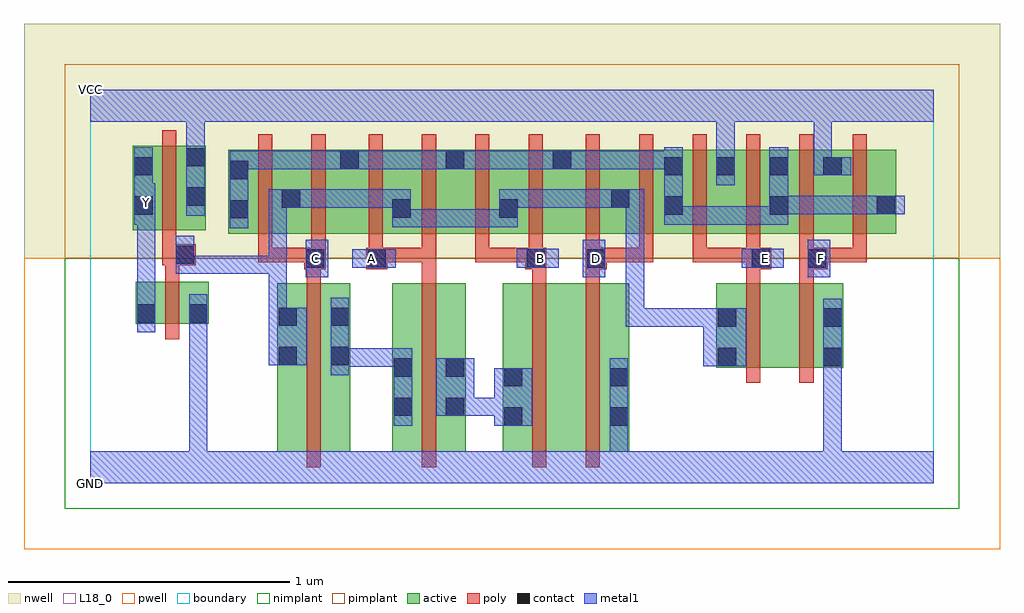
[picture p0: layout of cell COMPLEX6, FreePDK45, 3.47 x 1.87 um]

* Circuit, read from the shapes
.subckt COMPLEX6 A B C D E F GND VCC Y
M1 GND n1 Y VSUBS nfet w=0.15u l=0.05u
M2 n2 C n1 VSUBS nfet w=0.6u l=0.05u
M3 n3 A n2 VSUBS nfet w=0.6u l=0.05u
M4 n4 B n3 VSUBS nfet w=0.6u l=0.05u
M5 GND D n4 VSUBS nfet w=0.6u l=0.05u
M6 n5 E n1 VSUBS nfet w=0.3u l=0.05u
M7 GND F n5 VSUBS nfet w=0.3u l=0.05u
M8 VCC n1 Y n6 pfet w=0.3u l=0.05u
M9 n1 C n7 n6 pfet w=0.3u l=0.05u m=2
M10 n1 A n7 n6 pfet w=0.3u l=0.05u m=2
M11 n1 B n7 n6 pfet w=0.3u l=0.05u m=2
M12 n1 D n7 n6 pfet w=0.3u l=0.05u m=2
M13 VCC E n7 n6 pfet w=0.3u l=0.05u m=2
M14 VCC F n7 n6 pfet w=0.3u l=0.05u m=2
.ends

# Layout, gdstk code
import gdstk
lib = gdstk.Library(unit=1e-6, precision=1e-09)
def R(c, l, rs):  # rectangles x0, y0, x1, y1
    for r in rs: c.add(gdstk.rectangle(r[:2], r[2:], *l))
def A(c, l, x, y, w, h, nx, ny, dx, dy):  # array of equal rectangles
    R(c, l, [(x+i*dx, y+j*dy, x+i*dx+w, y+j*dy+h) for i in range(nx) for j in range(ny)])
active = (1, 0)
pwell = (2, 0)
nwell = (3, 0)
nimplant = (4, 0)
pimplant = (5, 0)
poly = (9, 0)
contact = (10, 0)
metal1 = (11, 0)
L18_0 = (18, 0)
boundary = (235, 0)

complex6 = lib.new_cell('COMPLEX6')
A(complex6, active, 1.07, 0.887, 0.265, 0.3, 3, 1, 0.19, 0)
A(complex6, active, 2.222, 0.887, 0.075, 0.3, 4, 1, 0.19, 0)
A(complex6, active, 2.222, 0.887, 0.265, 0.3, 3, 1, 0.19, 0)
R(complex6, active, [(0.665,0.112,0.925,0.712), (1.075,0.112,1.335,0.712), (1.467,0.112,1.692,0.712), (1.692,0.112,1.917,0.712), (0.665,0.145,0.74,0.712), (0.85,0.145,0.925,0.712), (1.075,0.145,1.15,0.712), (1.26,0.145,1.335,0.712), (1.467,0.145,1.572,0.712), (1.842,0.145,1.917,0.712), (2.227,0.412,2.302,0.712), (2.227,0.412,2.452,0.712), (2.452,0.412,2.677,0.712), (2.602,0.412,2.677,0.712), (0.162,0.567,0.237,0.717), (0.162,0.567,0.422,0.717), (0.347,0.567,0.422,0.717), (0.492,0.887,0.567,1.187), (0.492,0.887,0.752,1.187), (0.677,0.887,0.96,1.187), (0.885,0.887,1.145,1.187), (1.26,0.887,1.335,1.187), (1.64,0.887,1.922,1.187), (1.847,0.887,2.112,1.187), (2.037,0.887,2.112,1.187), (2.037,0.887,2.297,1.187), (0.152,0.9,0.227,1.2), (0.152,0.9,0.412,1.2), (0.337,0.9,0.412,1.2), (1.07,0.94,1.145,1.07), (1.45,0.94,1.525,1.07), (0.677,0.975,0.752,1.07), (1.847,0.975,1.922,1.07), (0.885,0.995,0.96,1.187), (1.64,0.995,1.715,1.187)])
R(complex6, pwell, [(-0.235,-0.235,3.235,0.8)])
R(complex6, nwell, [(-0.235,0.8,3.235,1.635)])
R(complex6, nimplant, [(-0.09,-0.09,3.09,0.8)])
R(complex6, pimplant, [(-0.09,0.8,3.09,1.49)])
A(complex6, poly, 0.99, 0.787, 0.05, 0.095, 4, 1, 0.19, 0)
A(complex6, poly, 1.762, 0.787, 0.05, 0.095, 6, 1, 0.19, 0)
A(complex6, poly, 1.952, 0.787, 0.05, 0.05, 3, 1, 0.19, 0)
A(complex6, poly, 0.99, 0.832, 0.05, 0.41, 4, 1, 0.19, 0)
A(complex6, poly, 1.762, 0.832, 0.05, 0.41, 6, 1, 0.19, 0)
R(complex6, poly, [(0.77,0.057,0.82,0.767), (1.18,0.057,1.23,0.767), (1.572,0.057,1.622,0.767), (1.762,0.057,1.812,0.767), (2.332,0.357,2.382,0.767), (2.522,0.357,2.572,0.767), (0.267,0.512,0.317,0.772), (0.77,0.717,0.82,0.812), (1.18,0.717,1.23,0.837), (1.572,0.717,1.622,0.812), (1.762,0.717,1.812,0.812), (2.332,0.717,2.382,0.812), (2.522,0.717,2.572,0.812), (0.267,0.722,0.317,0.825), (0.762,0.762,0.837,0.837), (0.982,0.762,1.057,0.837), (1.547,0.762,1.622,0.837), (1.762,0.762,1.837,0.837), (2.332,0.762,2.422,0.837), (2.522,0.762,2.622,0.837), (0.257,0.775,0.375,0.85), (0.597,0.787,0.647,0.882), (0.597,0.787,0.647,0.837), (0.597,0.787,0.647,0.837), (0.597,0.787,0.647,0.837), (0.597,0.787,0.812,0.837), (0.787,0.787,0.837,0.882), (1.007,0.787,1.057,0.837), (1.007,0.787,1.057,0.837), (1.007,0.787,1.23,0.837), (1.18,0.787,1.23,0.837), (1.37,0.787,1.42,0.837), (1.37,0.787,1.42,0.837), (1.37,0.787,1.42,0.837), (1.37,0.787,1.597,0.837), (1.787,0.787,1.837,0.837), (1.787,0.787,1.837,0.837), (1.787,0.787,2.002,0.837), (2.142,0.787,2.382,0.837), (2.332,0.787,2.382,0.837), (2.572,0.787,2.762,0.837), (2.712,0.787,2.762,0.837), (2.712,0.787,2.762,0.837), (2.712,0.787,2.762,0.837), (0.257,0.8,0.307,0.895), (0.597,0.832,0.647,1.242), (0.787,0.832,0.837,1.242), (0.257,0.845,0.307,1.255)])
A(complex6, contact, 2.227, 1.095, 0.065, 0.065, 3, 1, 0.19, 0)
R(complex6, contact, [(1.472,0.205,1.537,0.27), (1.847,0.205,1.912,0.27), (1.08,0.24,1.145,0.305), (1.265,0.24,1.33,0.305), (1.472,0.345,1.537,0.41), (1.847,0.345,1.912,0.41), (1.08,0.38,1.145,0.445), (1.265,0.38,1.33,0.445), (2.232,0.417,2.297,0.482), (2.607,0.417,2.672,0.482), (0.67,0.42,0.735,0.485), (0.855,0.42,0.92,0.485), (2.232,0.557,2.297,0.622), (2.607,0.557,2.672,0.622), (0.67,0.56,0.735,0.625), (0.855,0.56,0.92,0.625), (0.167,0.572,0.232,0.637), (0.352,0.572,0.417,0.637), (0.767,0.767,0.832,0.832), (0.987,0.767,1.052,0.832), (1.552,0.767,1.617,0.832), (1.767,0.767,1.832,0.832), (2.352,0.767,2.417,0.832), (2.552,0.767,2.617,0.832), (0.305,0.78,0.37,0.845), (0.497,0.942,0.562,1.007), (1.075,0.945,1.14,1.01), (1.455,0.945,1.52,1.01), (0.157,0.955,0.222,1.02), (2.042,0.955,2.107,1.02), (2.417,0.955,2.482,1.02), (2.797,0.957,2.862,1.022), (0.682,0.98,0.747,1.045), (1.852,0.98,1.917,1.045), (0.342,0.987,0.407,1.052), (0.497,1.082,0.562,1.147), (0.157,1.095,0.222,1.16), (2.042,1.095,2.107,1.16), (0.89,1.117,0.955,1.182), (1.265,1.117,1.33,1.182), (1.645,1.117,1.71,1.182), (0.342,1.127,0.407,1.192)])
R(complex6, metal1, [(0,0,3,0.115), (0.352,0.05,0.417,0.115), (0.352,0.05,0.417,0.115), (0.352,0.05,0.417,0.602), (1.847,0.05,1.912,0.115), (1.847,0.05,1.912,0.115), (1.847,0.05,1.912,0.235), (2.607,0.05,2.672,0.115), (2.607,0.05,2.672,0.115), (2.607,0.05,2.672,0.115), (2.607,0.05,2.672,0.115), (2.607,0.05,2.672,0.447), (1.847,0.17,1.912,0.445), (1.08,0.205,1.145,0.48), (1.437,0.205,1.572,0.41), (1.23,0.24,1.365,0.445), (1.3,0.24,1.365,0.305), (1.3,0.24,1.365,0.305), (1.3,0.24,1.502,0.305), (2.607,0.382,2.672,0.447), (2.607,0.382,2.672,0.447), (2.607,0.382,2.672,0.657), (0.855,0.385,0.92,0.66), (0.855,0.415,0.92,0.48), (0.855,0.415,0.92,0.48), (0.855,0.415,1.145,0.48), (2.18,0.417,2.332,0.622), (0.635,0.42,0.77,0.625), (0.167,0.537,0.232,0.672), (0.352,0.537,0.417,0.602), (0.352,0.537,0.417,0.602), (0.352,0.537,0.417,0.602), (0.352,0.537,0.417,0.602), (0.352,0.537,0.417,0.602), (0.352,0.537,0.417,0.602), (0.352,0.537,0.417,0.672), (1.905,0.557,1.97,0.622), (1.905,0.557,1.97,0.622), (1.905,0.557,1.97,0.622), (1.905,0.557,2.107,0.622), (1.905,0.557,1.97,1.045), (2.042,0.557,2.107,0.622), (2.042,0.557,2.245,0.622), (2.18,0.557,2.245,0.622), (2.18,0.557,2.245,0.622), (2.18,0.557,2.245,0.622), (2.18,0.557,2.245,0.622), (0.635,0.56,0.7,0.81), (0.167,0.607,0.232,0.985), (0.767,0.732,0.847,0.867), (1.752,0.732,1.832,0.867), (2.552,0.732,2.632,0.867), (0.305,0.745,0.37,0.81), (0.305,0.745,0.37,0.81), (0.305,0.745,0.37,0.88), (0.305,0.745,0.562,0.81), (0.497,0.745,0.562,0.81), (0.497,0.745,0.562,0.81), (0.497,0.745,0.562,0.81), (0.497,0.745,0.7,0.81), (0.635,0.745,0.7,0.81), (0.635,0.745,0.7,1.045), (0.932,0.767,1.087,0.832), (1.517,0.767,1.667,0.835), (2.317,0.767,2.467,0.835), (0.497,0.907,0.562,1.182), (1.075,0.91,1.14,0.975), (1.075,0.91,1.14,0.975), (1.075,0.91,1.14,1.045), (1.075,0.91,1.365,0.975), (1.3,0.91,1.365,0.975), (1.3,0.91,1.365,0.975), (1.3,0.91,1.365,0.975), (1.3,0.91,1.52,0.975), (1.455,0.91,1.52,1.045), (0.157,0.92,0.222,0.985), (0.157,0.92,0.222,1.195), (0.157,0.92,0.232,1.067), (2.042,0.92,2.107,0.985), (2.042,0.92,2.107,0.985), (2.042,0.92,2.107,0.985), (2.042,0.92,2.107,0.985), (2.042,0.92,2.107,1.195), (2.042,0.92,2.245,0.985), (2.18,0.92,2.245,0.985), (2.18,0.92,2.48,0.985), (2.415,0.92,2.48,0.985), (2.415,0.92,2.48,0.985), (2.415,0.92,2.482,1.195), (0.342,0.952,0.407,1.227), (2.417,0.957,2.69,1.022), (2.625,0.957,2.69,1.022), (2.625,0.957,2.69,1.022), (2.625,0.957,2.69,1.022), (2.625,0.957,2.827,1.022), (2.762,0.957,2.827,1.022), (2.762,0.957,2.827,1.022), (2.762,0.957,2.897,1.022), (0.635,0.98,0.782,1.045), (0.717,0.98,0.782,1.045), (0.717,0.98,0.782,1.045), (0.717,0.98,0.92,1.045), (0.855,0.98,0.92,1.045), (0.855,0.98,0.92,1.045), (0.855,0.98,0.92,1.045), (0.855,0.98,1.14,1.045), (1.455,0.98,1.52,1.045), (1.455,0.98,1.52,1.045), (1.455,0.98,1.745,1.045), (1.68,0.98,1.745,1.045), (1.68,0.98,1.745,1.045), (1.68,0.98,1.745,1.045), (1.68,0.98,1.882,1.045), (1.817,0.98,1.97,1.045), (2.227,1.06,2.292,1.195), (2.572,1.095,2.637,1.16), (2.572,1.095,2.637,1.16), (2.572,1.095,2.707,1.16), (2.572,1.095,2.637,1.35), (0.497,1.117,0.562,1.182), (0.497,1.117,0.562,1.182), (0.497,1.117,0.782,1.182), (0.717,1.117,0.782,1.182), (0.717,1.117,0.782,1.182), (0.717,1.117,0.782,1.182), (0.717,1.117,0.92,1.182), (0.855,1.117,0.99,1.182), (0.925,1.117,0.99,1.182), (0.925,1.117,0.99,1.182), (0.925,1.117,1.157,1.182), (1.092,1.117,1.157,1.182), (1.092,1.117,1.157,1.182), (1.092,1.117,1.157,1.182), (1.092,1.117,1.295,1.182), (1.23,1.117,1.365,1.182), (1.3,1.117,1.365,1.182), (1.3,1.117,1.365,1.182), (1.3,1.117,1.537,1.182), (1.472,1.117,1.537,1.182), (1.472,1.117,1.537,1.182), (1.472,1.117,1.537,1.182), (1.472,1.117,1.675,1.182), (1.61,1.117,1.745,1.182), (1.68,1.117,1.745,1.182), (1.68,1.117,1.745,1.182), (1.68,1.117,1.97,1.182), (1.905,1.117,1.97,1.182), (1.905,1.117,1.97,1.182), (1.905,1.117,1.97,1.182), (1.905,1.117,2.107,1.182), (2.227,1.13,2.292,1.195), (2.227,1.13,2.292,1.195), (2.227,1.13,2.292,1.35), (0.342,1.162,0.407,1.35), (0,1.285,3,1.4), (0.342,1.285,0.407,1.35), (0.342,1.285,0.407,1.35)])
R(complex6, L18_0, [(0,0,3,0.115), (0.352,0.05,0.417,0.115), (0.352,0.05,0.417,0.115), (0.352,0.05,0.417,0.602), (1.847,0.05,1.912,0.115), (1.847,0.05,1.912,0.115), (1.847,0.05,1.912,0.235), (2.607,0.05,2.672,0.115), (2.607,0.05,2.672,0.115), (2.607,0.05,2.672,0.115), (2.607,0.05,2.672,0.115), (2.607,0.05,2.672,0.447), (1.847,0.17,1.912,0.445), (2.607,0.382,2.672,0.657), (2.607,0.382,2.672,0.447), (2.607,0.382,2.672,0.447), (0.167,0.537,0.232,0.672), (0.352,0.537,0.417,0.672), (0.352,0.537,0.417,0.602), (0.352,0.537,0.417,0.602), (0.352,0.537,0.417,0.602), (0.352,0.537,0.417,0.602), (0.352,0.537,0.417,0.602), (0.352,0.537,0.417,0.602), (0.167,0.607,0.232,0.985), (0.767,0.732,0.847,0.867), (1.752,0.732,1.832,0.867), (2.552,0.732,2.632,0.867), (0.767,0.767,0.832,0.832), (0.932,0.767,1.087,0.832), (0.967,0.767,1.032,0.832), (1.517,0.767,1.667,0.835), (1.567,0.767,1.632,0.832), (1.767,0.767,1.832,0.832), (2.317,0.767,2.467,0.835), (2.367,0.767,2.432,0.832), (2.567,0.767,2.632,0.832), (0.157,0.92,0.232,1.067), (0.157,0.92,0.222,1.195), (0.157,0.92,0.222,0.985), (0.342,0.952,0.407,1.227), (0.167,0.967,0.232,1.032), (2.227,1.06,2.292,1.195), (2.572,1.095,2.637,1.16), (2.572,1.095,2.637,1.16), (2.572,1.095,2.707,1.16), (2.572,1.095,2.637,1.35), (2.227,1.13,2.292,1.195), (2.227,1.13,2.292,1.195), (2.227,1.13,2.292,1.35), (0.342,1.162,0.407,1.35), (0,1.285,3,1.4), (0.342,1.285,0.407,1.35), (0.342,1.285,0.407,1.35)])
R(complex6, boundary, [(0,0,3,1.4)])
complex6.add(gdstk.Label('A', (1,0.8), layer=11, texttype=0))
complex6.add(gdstk.Label('B', (1.6,0.8), layer=11, texttype=0))
complex6.add(gdstk.Label('C', (0.8,0.8), layer=11, texttype=0))
complex6.add(gdstk.Label('D', (1.8,0.8), layer=11, texttype=0))
complex6.add(gdstk.Label('E', (2.4,0.8), layer=11, texttype=0))
complex6.add(gdstk.Label('F', (2.6,0.8), layer=11, texttype=0))
complex6.add(gdstk.Label('Y', (0.2,1), layer=11, texttype=0))
complex6.add(gdstk.Label('VCC', (0,1.4), layer=11, texttype=0))
complex6.add(gdstk.Label('GND', (0,0), layer=11, texttype=0))

lib.write_gds('COMPLEX6.gds')
